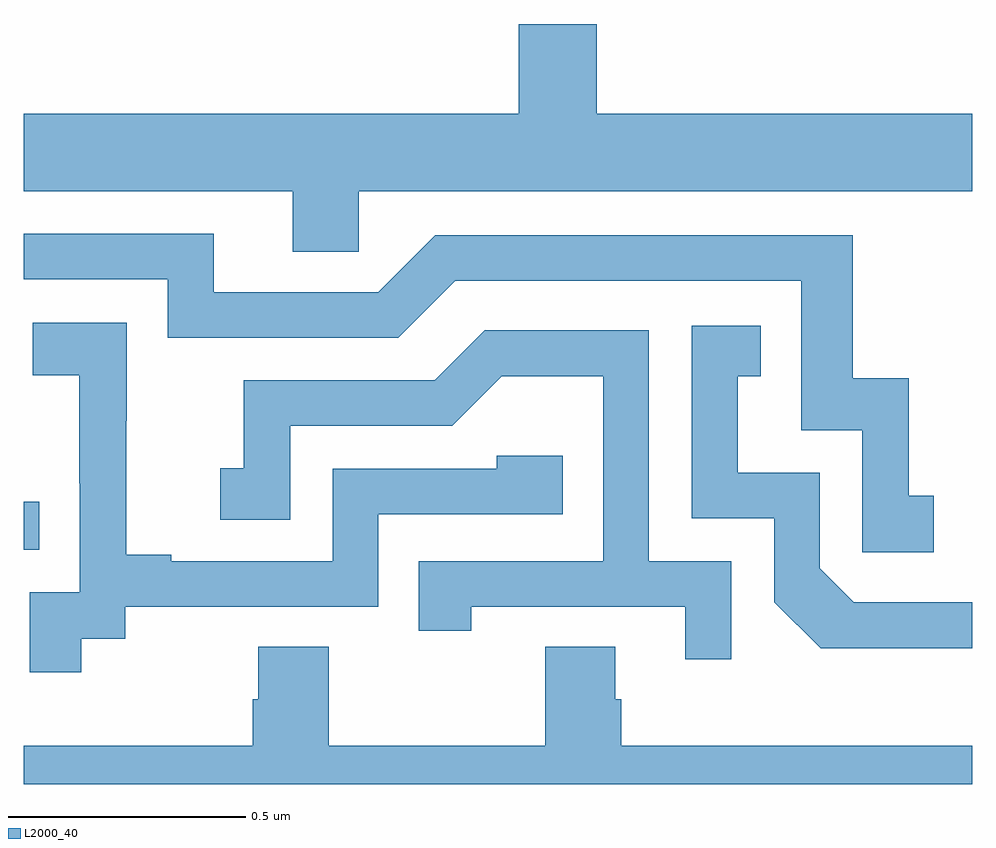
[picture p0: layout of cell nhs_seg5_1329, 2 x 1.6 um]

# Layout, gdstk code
import gdstk
lib = gdstk.Library(unit=1e-6, precision=1e-09)
def R(c, l, rs):  # rectangles x0, y0, x1, y1
    for r in rs: c.add(gdstk.rectangle(r[:2], r[2:], *l))
def P(c, l, *ps):  # polygons
    for p in ps: c.add(gdstk.Polygon(p, *l))
L2000_40 = (2000, 40)

nhs_seg5_1329 = lib.new_cell('nhs_seg5_1329')
R(nhs_seg5_1329, L2000_40, [(128,901.293,128.033,901.394)])
P(nhs_seg5_1329, L2000_40, [(128.706,902.048),(130,902.048),(130,902.212),(129.208,902.212),(129.208,902.401),(129.044,902.401),(129.044,902.212),(128,902.212),(128,902.048),(128.567,902.048),(128.567,901.921),(128.706,901.921)],
  [(129.919,901.407),(129.866,901.407),(129.866,901.654),(129.748,901.654),(129.748,901.956),(128.868,901.956),(128.748,901.836),(128.401,901.836),(128.401,901.959),(128,901.959),(128,901.863),(128.304,901.863),(128.304,901.74),(128.79,901.74),(128.91,901.86),(129.639,901.86),(129.639,901.545),(129.768,901.545),(129.768,901.287),(129.919,901.287)],
  [(128.122,901.105),(128.214,901.105),(128.214,901.173),(128.748,901.173),(128.748,901.368),(129.137,901.368),(129.137,901.491),(128.997,901.491),(128.997,901.464),(128.652,901.464),(128.652,901.269),(128.311,901.269),(128.311,901.282),(128.216,901.282),(128.216,901.565),(128.217,901.565),(128.217,901.771),(128.019,901.771),(128.019,901.661),(128.117,901.661),(128.117,901.433),(128.118,901.433),(128.118,901.203),(128.013,901.203),(128.013,901.035),(128.122,901.035)],
  [(130,901.182),(129.75,901.182),(129.678,901.254),(129.678,901.455),(129.505,901.455),(129.505,901.659),(129.554,901.659),(129.554,901.765),(129.408,901.765),(129.408,901.359),(129.582,901.359),(129.582,901.182),(129.68,901.085),(130,901.085)],
  [(129.492,901.269),(129.318,901.269),(129.318,901.755),(128.972,901.755),(128.867,901.65),(128.464,901.65),(128.464,901.465),(128.415,901.465),(128.415,901.356),(128.562,901.356),(128.562,901.554),(128.904,901.554),(129.008,901.658),(129.222,901.658),(129.222,901.269),(128.833,901.269),(128.833,901.122),(128.944,901.122),(128.944,901.173),(129.395,901.173),(129.395,901.062),(129.492,901.062)],
  [(130,900.88),(129.26,900.88),(129.26,900.978),(129.247,900.978),(129.247,901.088),(129.1,901.088),(129.1,900.88),(128.643,900.88),(128.643,901.088),(128.495,901.088),(128.495,900.978),(128.483,900.978),(128.483,900.88),(128,900.88),(128,900.799),(130,900.799)])

lib.write_gds('nhs_seg5_1329.gds')
